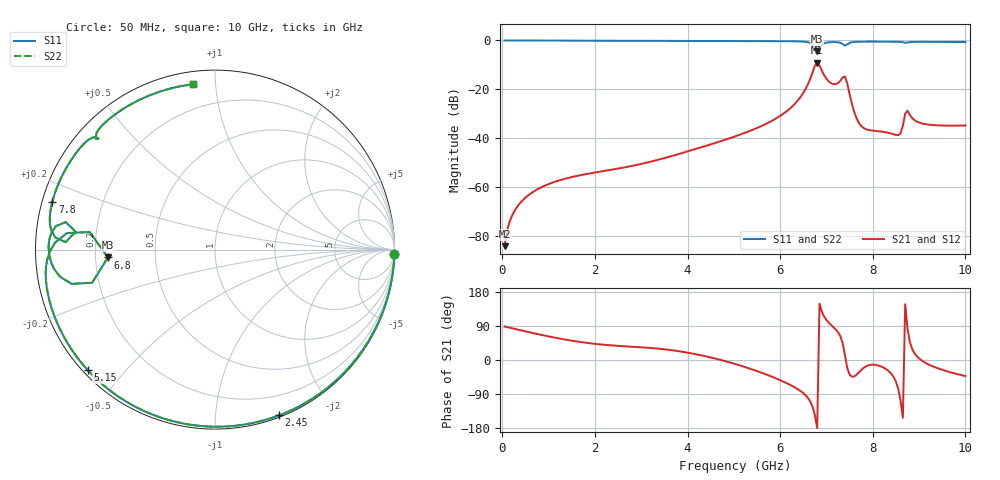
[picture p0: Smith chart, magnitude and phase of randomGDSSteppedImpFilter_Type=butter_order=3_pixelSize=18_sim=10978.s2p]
! freq	dB(S11)	phase(S11)	dB(S12)	phase(S12)
!  dB(S21)	phase(S21)	dB(S22)	phase(S22)
!S-par simulation data
#  GHz  S  DB  R 50
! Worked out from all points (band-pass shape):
!   200 points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, 50 MHz to 10 GHz, reference 50 ohm
!   highest |S21| = -9.07 dB at 6.8 GHz (marker M1); lowest = -84.1 dB at 50 MHz (marker M2)
!   |S21| within 3 dB of the highest: 6.719 GHz to 6.895 GHz (175.7 MHz wide, 2.58 % of centre)
!   lowest |S11| = -4.5 dB at 6.8 GHz (marker M3), VSWR 3.97, Z = 12.6 - j1.72 ohm
!   |S11| at or under -10 dB: nowhere
!   |S22| runs from -4.5 to 0.0 dB; largest |S21 - S12| = 0
!   S11 on the Smith chart (normalised r, x): 50 MHz: 0, -78; 2.45 GHz: 0.02, -1.46; 5.15 GHz: 0.01, -0.40; 6.8 GHz: 0.25, -0.03; 7.8 GHz: 0.03, +0.14; 10 GHz: 0.07, +0.88
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0.05  -0.00 -1.5  -84.09 88.3  -84.09 88.3  -0.00 -1.5
0.25  -0.01 -7.3  -70.16 82.7  -70.16 82.7  -0.01 -7.3
0.55  -0.02 -16.0  -63.47 74.2  -63.47 74.2  -0.02 -16.0
1.75  -0.06 -49.9  -54.84 46.4  -54.84 46.4  -0.06 -49.9
2.45  -0.09 -68.9  -52.55 37.8  -52.55 37.8  -0.09 -68.9
3.4  -0.12 -93.5  -48.60 29.5  -48.60 29.5  -0.12 -93.5
5.05  -0.20 -134.2  -39.06 -11.3  -39.06 -11.3  -0.20 -134.2
5.15  -0.21 -136.7  -38.39 -15.0  -38.39 -15.0  -0.21 -136.7
6.2  -0.32 -163.8  -28.00 -64.7  -28.00 -64.7  -0.32 -163.8
6.5  -0.48 -174.2  -21.42 -87.4  -21.42 -87.4  -0.48 -174.2
6.7  -1.62 173.6  -13.08 -123.4  -13.08 -123.4  -1.62 173.7
6.8  -4.47 -175.8  -9.07 -179.4  -9.07 -179.4  -4.45 -175.8
6.9  -1.71 -166.5  -12.30 127.7  -12.30 127.7  -1.71 -166.6
7.1  -0.68 -178.6  -17.48 92.3  -17.48 92.3  -0.68 -178.6
7.4  -2.12 172.7  -14.72 12.4  -14.72 12.4  -2.13 172.7
7.6  -0.61 170.9  -29.24 -43.4  -29.24 -43.4  -0.61 170.9
7.8  -0.49 163.7  -35.75 -21.1  -35.75 -21.1  -0.49 163.7
8.35  -0.50 147.0  -37.80 -29.9  -37.80 -29.9  -0.50 147.0
8.6  -0.60 139.0  -37.97 -107.2  -37.97 -107.2  -0.60 138.9
8.75  -0.86 137.1  -28.76 83.2  -28.76 83.2  -0.87 137.1
9.05  -0.57 127.4  -33.85 -0.8  -33.85 -0.8  -0.57 127.4
10  -0.64 97.5  -34.75 -42.4  -34.75 -42.4  -0.64 97.5
